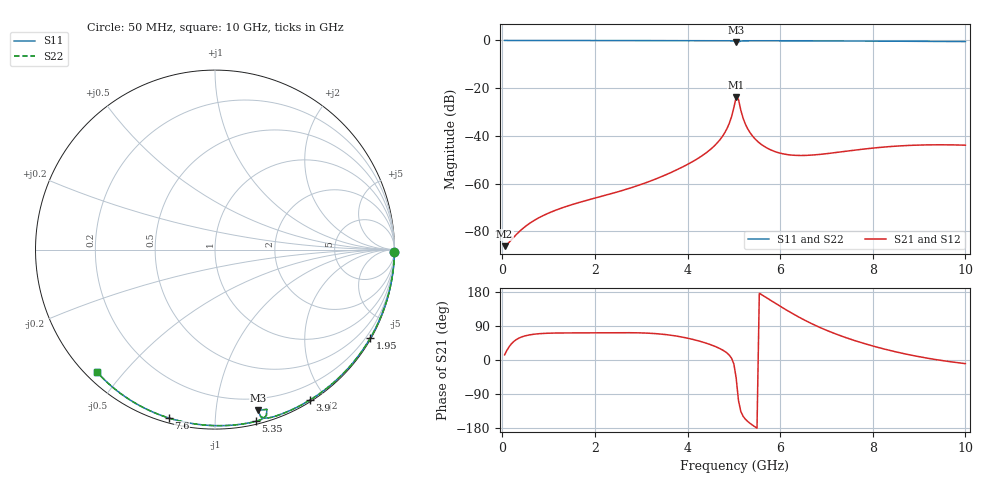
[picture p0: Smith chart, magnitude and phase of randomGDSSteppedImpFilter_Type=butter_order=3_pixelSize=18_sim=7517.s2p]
! freq	dB(S11)	phase(S11)	dB(S12)	phase(S12)
!  dB(S21)	phase(S21)	dB(S22)	phase(S22)
!S-par simulation data
#  GHz  S  DB  R 50
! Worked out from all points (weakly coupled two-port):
!   200 points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, 50 MHz to 10 GHz, reference 50 ohm
!   highest |S21| = -23.65 dB at 5.05 GHz (marker M1); lowest = -86.2 dB at 50 MHz (marker M2)
!   lowest |S11| = -0.7 dB at 5.05 GHz (marker M3), VSWR 26.14, Z = 5.14 - j64.8 ohm
!   |S11| at or under -10 dB: nowhere
!   |S22| runs from -0.7 to 0.0 dB; largest |S21 - S12| = 0
!   S11 on the Smith chart (normalised r, x): 50 MHz: open; 1.95 GHz: 0.03, -3.78; 3.9 GHz: 0.02, -1.81; 5.35 GHz: 0.02, -1.27; 7.6 GHz: 0.02, -0.76; 10 GHz: 0.03, -0.42
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0.05  -0.00 -0.8  -86.18 13.6  -86.18 13.6  -0.00 -0.8
0.35  -0.00 -5.4  -80.38 57.2  -80.38 57.2  -0.00 -5.4
0.9  -0.02 -13.8  -73.20 70.2  -73.20 70.2  -0.02 -13.8
1.75  -0.03 -26.6  -67.37 71.5  -67.37 71.5  -0.03 -26.6
1.95  -0.04 -29.6  -66.30 71.5  -66.30 71.5  -0.04 -29.6
3.4  -0.07 -50.7  -57.35 68.7  -57.35 68.7  -0.07 -50.7
3.9  -0.08 -57.8  -52.93 60.1  -52.93 60.1  -0.08 -57.8
4.4  -0.09 -64.8  -47.11 44.5  -47.11 44.5  -0.09 -64.8
4.7  -0.11 -69.1  -41.58 30.0  -41.58 30.0  -0.11 -69.1
4.9  -0.14 -72.3  -34.82 13.0  -34.82 13.0  -0.14 -72.3
4.95  -0.18 -73.4  -32.00 4.7  -32.00 4.7  -0.18 -73.4
5.05  -0.66 -75.1  -23.65 -47.3  -23.65 -47.3  -0.66 -75.1
5.1  -0.57 -72.0  -24.66 -106.8  -24.66 -106.8  -0.57 -72.0
5.2  -0.20 -73.9  -32.57 -148.5  -32.57 -148.5  -0.20 -73.9
5.35  -0.15 -76.5  -38.63 -167.2  -38.63 -167.2  -0.15 -76.5
5.6  -0.14 -80.1  -43.65 172.3  -43.65 172.3  -0.14 -80.1
5.9  -0.15 -84.1  -46.64 149.5  -46.64 149.5  -0.15 -84.1
6.25  -0.16 -88.6  -48.03 123.8  -48.03 123.8  -0.16 -88.6
6.7  -0.19 -94.3  -48.00 94.8  -48.00 94.8  -0.19 -94.3
7.6  -0.24 -105.4  -45.97 51.6  -45.97 51.6  -0.24 -105.4
8.35  -0.30 -114.4  -44.48 25.8  -44.48 25.8  -0.30 -114.4
10  -0.47 -134.0  -43.87 -9.6  -43.87 -9.6  -0.47 -134.0
